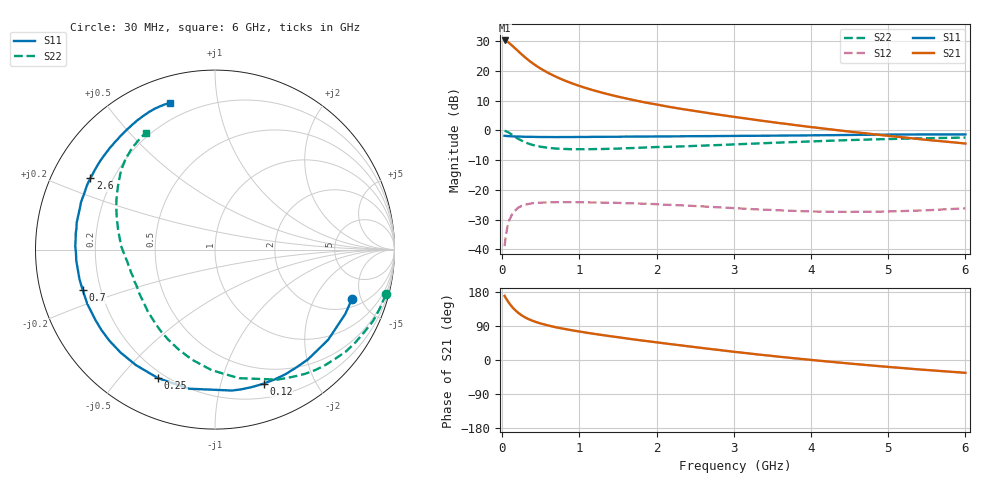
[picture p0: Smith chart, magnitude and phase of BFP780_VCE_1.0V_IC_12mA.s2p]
! Infineon Technologies  Discrete & RF Semiconductors
! BFP780
! VCE =  1.0 V,  IC =  12 mA
! Common Emitter S-Parameters:  Jul 2015
# GHz  S  MA  R  50
!  f  S11  S21  S12  S22
! GHz  MAG  ANG  MAG  ANG  MAG  ANG  MAG  ANG
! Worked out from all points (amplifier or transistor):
!   75 points, 30 MHz to 6 GHz, reference 50 ohm
!   highest |S21| = 30.2 dB at 30 MHz (marker M1)
!   |S21| within 3 dB of that: start of sweep to 180.9 MHz
!   unconditionally stable (mu >= 1): 2.611 GHz to end of sweep
!   at 150 MHz: K = 0.05, MSG = 27.7 dB, |S12| = -27.4 dB
!   at 2.3 GHz: K = 0.86, MSG = 16.2 dB, |S12| = -25.2 dB
!   at 6 GHz: K = 2.03, MAG = 5.1 dB, |S12| = -26.2 dB
!   S11 on the Smith chart (normalised r, x): 30 MHz: 2.60, -4.18; 120 MHz: 0.34, -1.37; 250 MHz: 0.17, -0.64; 700 MHz: 0.13, -0.15; 2.6 GHz: 0.12, +0.26; 6 GHz: 0.12, +0.73
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0.03  0.8113 -19.8  32.49 169.2  0.0113 82.3  0.984 -14.7
0.05  0.8033 -32.5  31.81 162.0  0.0178 74.5  0.9661 -24.4
0.07  0.8002 -44.3  30.71 155.7  0.0251 65.6  0.9373 -33.6
0.1  0.7978 -60.5  28.6 147.1  0.0324 58.8  0.89 -46.2
0.12  0.7943 -70.1  27.1 141.9  0.0372 54.0  0.8552 -54.0
0.15  0.791 -83.1  25.06 135.0  0.0429 47.5  0.8031 -64.4
0.2  0.7885 -100.6  21.82 125.5  0.0495 38.7  0.7289 -79.4
0.25  0.7834 -113.8  19 118.0  0.0538 32.1  0.6725 -91.5
0.3  0.78 -124.4  16.71 111.9  0.0565 26.8  0.6261 -101.9
0.35  0.7783 -132.6  14.78 107.0  0.0582 22.4  0.5918 -110.1
0.4  0.7771 -139.3  13.23 102.9  0.0599 19.4  0.5659 -117.3
0.5  0.7731 -149.5  10.87 96.2  0.0609 14.1  0.5298 -128.6
0.7  0.7708 -163.0  7.921 86.1  0.0621 7.2  0.4939 -144.1
0.9  0.7724 -171.8  6.192 78.5  0.0622 2.3  0.4814 -154.4
1.1  0.7749 -178.7  5.068 71.8  0.0615 -0.9  0.4811 -162.1
1.5  0.7811 171.2  3.687 60.1  0.0604 -6.3  0.4938 -172.5
2.1  0.7921 159.0  2.571 44.0  0.0561 -12.3  0.5264 176.1
2.6  0.8001 150.2  2.018 31.4  0.0527 -15.3  0.5545 167.4
3.1  0.8085 142.0  1.62 19.5  0.0485 -16.3  0.588 159.0
4.1  0.8272 127.4  1.098 -1.8  0.0431 -12.5  0.6588 144.4
5.1  0.8507 115.6  0.785 -19.9  0.0437 -5.6  0.7198 131.7
6  0.856 107.2  0.601 -33.9  0.0488 -2.2  0.7572 120.7
